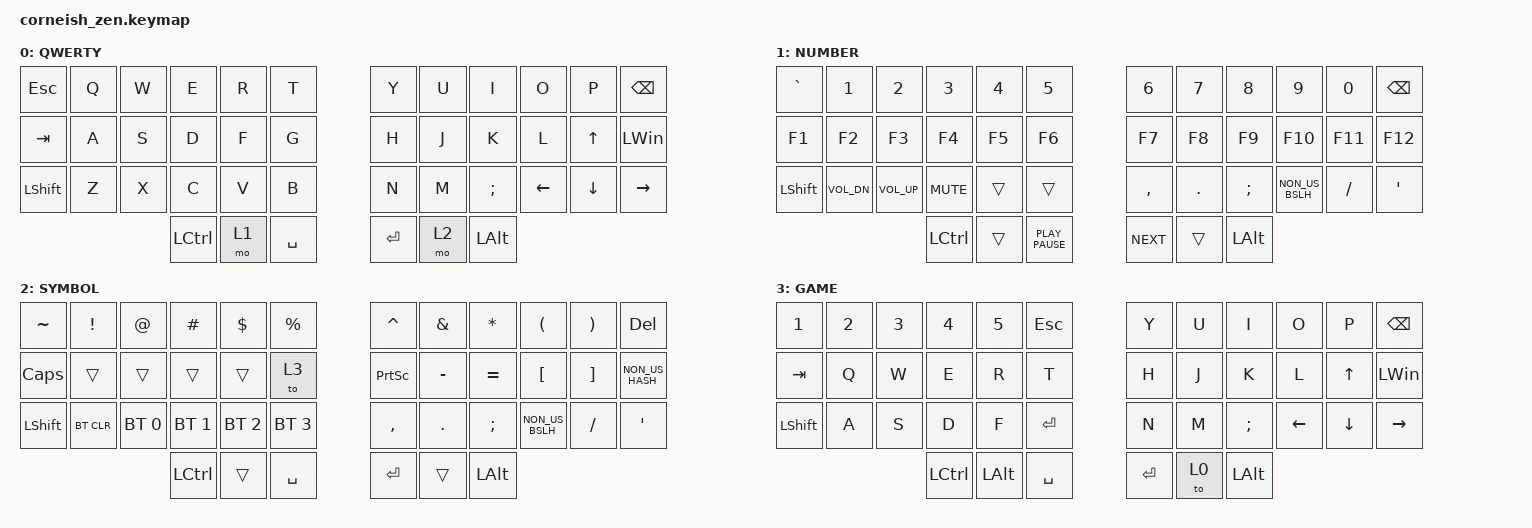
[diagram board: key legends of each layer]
#include <behaviors.dtsi>
#include <dt-bindings/zmk/keys.h>
#include <dt-bindings/zmk/bt.h>

/ {
  chosen {
    zmk,matrix_transform = &default_transform;
    //zmk,matrix_transform = &five_column_transform;
  };
};

/ {
        keymap {
                compatible = "zmk,keymap";

                default_layer {
                        label = "QWERTY";
// -----------------------------------------------------------------------------------------
// |  ESC |  Q  |  W  |  E  |  R  |  T  |   |  Y  |  U   |  I  |  O  |  P  | BKSP |
// |  TAB |  A  |  S  |  D  |  F  |  G  |   |  H  |  J   |  K  |  L  |  UP | GUI  |
// | SHFT |  Z  |  X  |  C  |  V  |  B  |   |  N  |  M   |  ,  | LFT | DWN | RGT  |
//                    | CTRL| LWR | SPC |   | ENT | RSE  | ALT |
                        bindings = <
   &kp ESC   &kp Q &kp W &kp E &kp R &kp T   &kp Y &kp U  &kp I    &kp O    &kp P    &kp BSPC
   &kp TAB   &kp A &kp S &kp D &kp F &kp G   &kp H &kp J  &kp K    &kp L    &kp UP   &kp LEFT_WIN
   &kp LSHFT &kp Z &kp X &kp C &kp V &kp B   &kp N &kp M  &kp SEMI &kp LEFT &kp DOWN &kp RIGHT
                 &kp LCTRL &mo 1 &kp SPACE   &kp RET &mo 2 &kp LALT
                        >;
                };

                lower_layer {
                        label = "NUMBER";
// -----------------------------------------------------------------------------------------
// |  `   |  1    |  2    |  3   |  4  |  5  |   |  6  |  7  |  8  |  9  |  0  | BKSP |
// |  F1  |  F2   |  F3   |  F4  |  F5 |  F6 |   |  F7 |  F8 |  F9 | F10 | F11 |  F12 |
// | SHFT | VOL_D | VOL_U | MUTE |     |     |   |  ,  |  .  |  ;  |  \  |  /  |   '  |
//                        |  GUI |     | SPC |   | ENT |     | ALT |
                        bindings = <
   &kp GRAVE &kp N1       &kp N2       &kp N3       &kp N4 &kp N5            &kp N6        &kp N7     &kp N8   &kp N9          &kp N0    &kp BSPC
   &kp F1    &kp F2       &kp F3       &kp F4       &kp F5 &kp F6            &kp F7        &kp F8     &kp F9   &kp F10         &kp F11   &kp F12
   &kp LSHFT &kp C_VOL_DN &kp C_VOL_UP &kp K_MUTE   &trans &trans            &kp COMMA     &kp PERIOD &kp SEMI &kp NON_US_BSLH &kp SLASH &kp SQT
                          	       &kp LCTRL    &trans &kp K_PLAY_PAUSE  &kp K_NEXT    &trans     &kp LALT
                        >;
                };

                raise_layer {
                        label = "SYMBOL";
// -----------------------------------------------------------------------------------------
// |  ~   |    !   |  @  |  #  |  $  |  %  |   |  ^    |  &  |  *  |  (  | ) | DEL   |
// | CAPS |        |     |     |     | GME |   | PSCRN |  -  |  =  |  [  | ] | PSCRN |
// | SHFT | BT CLR | BT0 | BT1 | BT3 | BT4 |   |   ,   |  .  |  ;  |  \  | / |   '   |
//                       | GUI |     | SPC |   | ENT   |     | ALT |
                        bindings = <
   &kp TILDE &kp EXCL   &kp AT       &kp HASH     &kp DLLR     &kp PRCNT      &kp CARET       &kp AMPS   &kp STAR  &kp LPAR        &kp RPAR  &kp DEL
   &kp CAPS  &trans     &trans       &trans       &trans       &to 3          &kp PRINTSCREEN &kp MINUS  &kp EQUAL &kp LBKT        &kp RBKT  &kp NON_US_HASH
   &kp LSHFT &bt BT_CLR &bt BT_SEL 0 &bt BT_SEL 1 &bt BT_SEL 2 &bt BT_SEL 3   &kp COMMA       &kp PERIOD &kp SEMI  &kp NON_US_BSLH &kp SLASH &kp SQT
                    	             &kp LCTRL    &trans       &kp SPACE      &kp RET         &trans    &kp LALT
                        >;
                };

                game_layer {
                        label = "GAME";
// -----------------------------------------------------------------------------------------
// |  1   | 2 | 3 |  4  | 5 | ESC |   |  Y  | U |  I  | O   | P   | BKSP |
// | TAB  | Q | W |  E  | R | T   |   |  H  | J |  K  |  L  |  UP | GUI  |
// | SHFT | A | S |  D  | F | ENT |   |  N  | M |  ;  | LFT | DWN | RGT  |
//                | GUI |   | SPC |   | ENT |   | ALT |
                        bindings = <
   &kp N1    &kp N2 &kp N3 &kp N4    &kp N5   &kp ESC        &kp Y   &kp U  &kp I    &kp O    &kp P    &kp BSPC
   &kp TAB   &kp Q  &kp W  &kp E     &kp R    &kp T          &kp H   &kp J  &kp K    &kp L    &kp UP   &kp LEFT_WIN
   &kp LSHFT &kp A  &kp S  &kp D     &kp F    &kp RET        &kp N   &kp M  &kp SEMI &kp LEFT &kp DOWN &kp RIGHT
                    	   &kp LCTRL &kp LALT &kp SPACE      &kp RET &to 0 &kp LALT
                        >;
                };
        };
};
